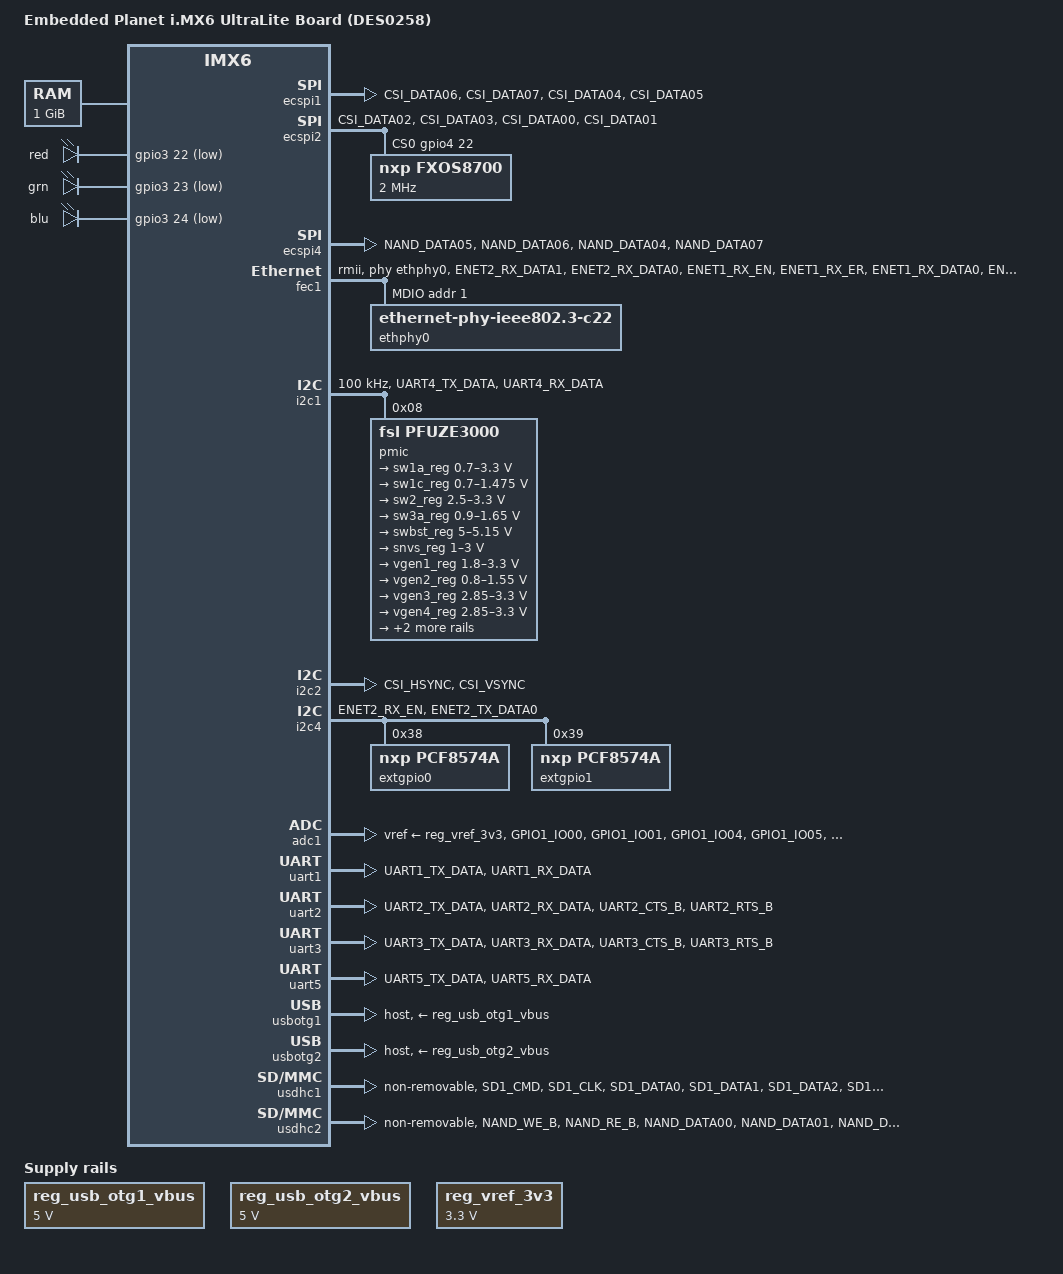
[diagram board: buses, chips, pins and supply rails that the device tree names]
/*
 * Copyright (C) 2015 Freescale Semiconductor, Inc.
 *
 * This program is free software; you can redistribute it and/or modify
 * it under the terms of the GNU General Public License version 2 as
 * published by the Free Software Foundation.
 */

/dts-v1/;

#include <dt-bindings/input/input.h>
#include <dt-bindings/gpio/gpio.h>
#include "imx6ul.dtsi"

/ {
	model = "Embedded Planet i.MX6 UltraLite Board (DES0258)";
	compatible = "fsl,imx6ul", "ep,imx6-des0258";

	chosen {
		stdout-path = &uart1;
	};

	memory {
		reg = <0x80000000 0x40000000>;
	};

	reserved-memory {
		#address-cells = <1>;
		#size-cells = <1>;
		ranges;

		linux,cma {
			compatible = "shared-dma-pool";
			reusable;
			size = <0x14000000>;
			linux,cma-default;
		};
	};

	regulators {
		compatible = "simple-bus";
		#address-cells = <1>;
		#size-cells = <0>;

/*
		reg_usb_otg1_vbus: regulator@0 {
			compatible = "regulator-fixed";
			reg = <2>;
			pinctrl-names = "default";
			pinctrl-0 = <&pinctrl_usb_otg1>;
			regulator-name = "usb_otg1_vbus";
			regulator-min-microvolt = <5000000>;
			regulator-max-microvolt = <5000000>;
			gpio = <&gpio3 5 GPIO_ACTIVE_HIGH>;
			enable-active-high;
		};

		reg_usb_otg2_vbus: regulator@1 {
			compatible = "regulator-fixed";
			reg = <2>;
			pinctrl-names = "default";
			pinctrl-0 = <&pinctrl_usb_otg2>;
			regulator-name = "usb_otg2_vbus";
			regulator-min-microvolt = <5000000>;
			regulator-max-microvolt = <5000000>;
			gpio = <&gpio3 6 GPIO_ACTIVE_HIGH>;
			enable-active-high;
		};
*/

		reg_usb_otg1_vbus: regulator@0 {
			compatible = "regulator-fixed";
			regulator-name = "usb_otg1_vbus_reg";
			regulator-min-microvolt = <5000000>;
			regulator-max-microvolt = <5000000>;
		};

		reg_usb_otg2_vbus: regulator@1 {
			compatible = "regulator-fixed";
			regulator-name = "usb_otg2_vbus_reg";
			regulator-min-microvolt = <5000000>;
			regulator-max-microvolt = <5000000>;
		};

		reg_vref_3v3: regulator-vref {
			compatible = "regulator-fixed";
			regulator-name = "vref-3v3";
			regulator-min-microvolt = <3300000>;
			regulator-max-microvolt = <3300000>;
		};
	};

	leds {
		compatible = "gpio-leds";
		pinctrl-names = "default";
		pinctrl-0 = <&pinctrl_gpio_leds>;

		user_red {
			label = "red";
			gpios = <&gpio3 22 GPIO_ACTIVE_LOW>;
			default-state = "keep";
		};

		user_grn {
			label = "grn";
			gpios = <&gpio3 23 GPIO_ACTIVE_LOW>;
			default-state = "keep";
		};

		user_blu {
			label = "blu";
			gpios = <&gpio3 24 GPIO_ACTIVE_LOW>;
			default-state = "keep";
		};
	};

	gpio {
		compatible = "imx35-gpio";
		pinctrl-names = "default";
		pinctrl-0 = <&pinctrl_gpio_des0258>;

		wifi_reset {
			label = "wifi_rst";
			gpios = <&gpio3 25 GPIO_ACTIVE_LOW>;
		};

		ltp_reset {
			label = "ltp_rst";
			gpios = <&gpio3 26 GPIO_ACTIVE_LOW>;
		};

		sx1301_reset {
			label = "sx1301_rst";
			gpios = <&gpio3 13 GPIO_ACTIVE_HIGH>;
		};

		pushbutton {
			label = "pushbutton";
			gpios = <&gpio2 14 GPIO_ACTIVE_LOW>;
		};
		
		cell_perst {
			label = "cell_perst";
			gpios = <&gpio3 17 GPIO_ACTIVE_LOW>;
		};

		cell_w_disable {
			label = "cell_w_disable";
			gpios = <&gpio3 18 GPIO_ACTIVE_HIGH>;
		};

		cell_wake {
			label = "cell_wake";
			gpios = <&gpio3 19 GPIO_ACTIVE_LOW>;
		};

		cell_power_en {
			label = "cell_power_en";
			gpios = <&gpio3 20 GPIO_ACTIVE_LOW>;
		};
	};
};

&clks {
	assigned-clock-rates = <786432000>;
};

&cpu0 {
	/*
	 * on i.MX6UL, no seperated VDD_ARM_IN and VDD_SOC_IN,
	 * to align with other platform and use the same cpufreq
	 * driver, still use the seperated OPP define for arm
	 * and soc.
	 */
	operating-points = <
		/* kHz	uV */
		528000	1175000
		396000	1175000
		198000	1175000
	>;
	fsl,soc-operating-points = <
		/* KHz	uV */
		528000	1175000
		396000	1175000
		198000	1175000
	>;
	fsl,arm-soc-shared = <1>;
};

&reg_arm {
	vin-supply = <&sw1a_reg>;
	regulator-allow-bypass;
};

&reg_soc {
	vin-supply = <&sw1a_reg>;
	regulator-allow-bypass;
};

&ecspi1 {
	fsl,spi-num-chipselects = <1>;
	cs-gpios = <&gpio4 26 0>;
	pinctrl-names = "default";
	pinctrl-0 = <&pinctrl_ecspi1_1 &pinctrl_ecspi1_cs_1>;
	status = "okay";
};

&ecspi2 {
	fsl,spi-num-chipselects = <1>;
	cs-gpios = <&gpio4 22 0>;
	pinctrl-names = "default";
	pinctrl-0 = <&pinctrl_ecspi2_1 &pinctrl_ecspi2_cs_1>;
	status = "okay";

    fxos8700@0 {
        compatible = "nxp,fxos8700";
        reg = <0>;
        spi-max-frequency = <2000000>;
        status = "okay";
    };
};

&ecspi4 {
	fsl,spi-num-chipselects = <1>;
	cs-gpios = <&gpio4 9 0>;
	pinctrl-names = "default";
	pinctrl-0 = <&pinctrl_ecspi4_1 &pinctrl_ecspi4_cs_1>;
	status = "okay";
};

&fec1 {
	pinctrl-names = "default";
	pinctrl-0 = <&pinctrl_enet1>;
	phy-mode = "rmii";
	phy-handle = <&ethphy0>;
	status = "okay";
	mdio {
		#address-cells = <1>;
		#size-cells = <0>;

		ethphy0: ethernet-phy@0 {
			compatible = "ethernet-phy-ieee802.3-c22";
			reg = <1>;
		};
	};
};

&can1 {
	pinctrl-names = "default";
	pinctrl-0 = <&pinctrl_flexcan1>;
	status = "disabled";
};

&can2 {
	pinctrl-names = "default";
	pinctrl-0 = <&pinctrl_flexcan2>;
	status = "disabled";
};

&gpc {
	fsl,cpu_pupscr_sw2iso = <0x1>;
	fsl,cpu_pupscr_sw = <0x0>;
	fsl,cpu_pdnscr_iso2sw = <0x1>;
	fsl,cpu_pdnscr_iso = <0x1>;
	fsl,ldo-bypass = <1>; /* use ldo-bypass, u-boot will check it and configure */
};

&i2c1 {
	clock-frequency = <100000>;
	pinctrl-names = "default", "gpio";
	pinctrl-0 = <&pinctrl_i2c1>;
	status = "okay";

	pmic: pfuze3000@08 {
		compatible = "fsl,pfuze3000";
		reg = <0x08>;

		regulators {
			sw1a_reg: sw1a {
				regulator-min-microvolt = <700000>;
				regulator-max-microvolt = <3300000>;
				regulator-boot-on;
				regulator-always-on;
				regulator-ramp-delay = <6250>;
			};

			/* use sw1c_reg to align with pfuze100/pfuze200 */
			sw1c_reg: sw1b {
				regulator-min-microvolt = <700000>;
				regulator-max-microvolt = <1475000>;
				regulator-boot-on;
				regulator-always-on;
				regulator-ramp-delay = <6250>;
			};

			sw2_reg: sw2 {
				regulator-min-microvolt = <2500000>;
				regulator-max-microvolt = <3300000>;
				regulator-boot-on;
				regulator-always-on;
			};

			sw3a_reg: sw3 {
				regulator-min-microvolt = <900000>;
				regulator-max-microvolt = <1650000>;
				regulator-boot-on;
				regulator-always-on;
			};

			swbst_reg: swbst {
				regulator-min-microvolt = <5000000>;
				regulator-max-microvolt = <5150000>;
			};

			snvs_reg: vsnvs {
				regulator-min-microvolt = <1000000>;
				regulator-max-microvolt = <3000000>;
				regulator-boot-on;
				regulator-always-on;
			};

			vref_reg: vrefddr {
				regulator-boot-on;
				regulator-always-on;
			};

			vgen1_reg: vldo1 {
				regulator-min-microvolt = <1800000>;
				regulator-max-microvolt = <3300000>;
				regulator-always-on;
			};

			vgen2_reg: vldo2 {
				regulator-min-microvolt = <800000>;
				regulator-max-microvolt = <1550000>;
			};

			vgen3_reg: vccsd {
				regulator-min-microvolt = <2850000>;
				regulator-max-microvolt = <3300000>;
				regulator-always-on;
			};

			vgen4_reg: v33 {
				regulator-min-microvolt = <2850000>;
				regulator-max-microvolt = <3300000>;
				regulator-always-on;
			};

			vgen5_reg: vldo3 {
				regulator-min-microvolt = <1800000>;
				regulator-max-microvolt = <3300000>;
			};

			vgen6_reg: vldo4 {
				regulator-min-microvolt = <1800000>;
				regulator-max-microvolt = <3300000>;
				regulator-always-on;
			};
		};
	};

};

&i2c2 {
	clock_frequency = <400000>;
	pinctrl-names = "default";
	pinctrl-0 = <&pinctrl_i2c2>;
	status = "okay";
};

&i2c4 {
	clock_frequency = <400000>;
	pinctrl-names = "default";
	pinctrl-0 = <&pinctrl_i2c4>;
	status = "okay";

	extgpio0: pcf8574@38 {
		compatible = "nxp,pcf8574a";
		reg = <0x38>;
		gpio-controller;
		#gpio-cells = <2>;
	};
	
	extgpio1: pcf8574@39 {
		compatible = "nxp,pcf8574a";
		reg = <0x39>;
		gpio-controller;
		#gpio-cells = <2>;
	};
};

&iomuxc {
	pinctrl-names = "default";
	
	imx6ul-des0258 {
		pinctrl_adc1: adc1grp {
			fsl,pins = <
				MX6UL_PAD_GPIO1_IO00__GPIO1_IO00        0xb0
				MX6UL_PAD_GPIO1_IO01__GPIO1_IO01        0xb0
				MX6UL_PAD_GPIO1_IO04__GPIO1_IO04        0xb0
				MX6UL_PAD_GPIO1_IO05__GPIO1_IO05        0xb0
				MX6UL_PAD_GPIO1_IO06__GPIO1_IO06        0xb0
				MX6UL_PAD_GPIO1_IO07__GPIO1_IO07        0xb0
				MX6UL_PAD_GPIO1_IO08__GPIO1_IO08        0xb0
				MX6UL_PAD_GPIO1_IO09__GPIO1_IO09        0xb0
			>;
		};

		pinctrl_bt: btgrp {
			fsl,pins = <
				MX6UL_PAD_SNVS_TAMPER6__GPIO5_IO06	0x80000000
				MX6UL_PAD_SNVS_TAMPER9__GPIO5_IO09	0x80000000
				MX6UL_PAD_SNVS_TAMPER5__GPIO5_IO05	0x80000000
			>;
		};

		pinctrl_ecspi1_cs_1: ecspi1_cs_grp-1 {
			fsl,pins = <
				MX6UL_PAD_CSI_DATA05__GPIO4_IO26  0x10b0
			>;
		};

		pinctrl_ecspi1_1: ecspi1grp-1 {
			fsl,pins = <
				MX6UL_PAD_CSI_DATA06__ECSPI1_MOSI 0x10b0
				MX6UL_PAD_CSI_DATA07__ECSPI1_MISO 0x10b0
				MX6UL_PAD_CSI_DATA04__ECSPI1_SCLK 0x10b0
			>;
		};

		pinctrl_ecspi2_cs_1: ecspi2_cs_grp-1 {
			fsl,pins = <
				MX6UL_PAD_CSI_DATA01__GPIO4_IO22  0x10b0
			>;
		};

		pinctrl_ecspi2_1: ecspi2grp-1 {
			fsl,pins = <
				MX6UL_PAD_CSI_DATA02__ECSPI2_MOSI 0x10b0
				MX6UL_PAD_CSI_DATA03__ECSPI2_MISO 0x10b0
				MX6UL_PAD_CSI_DATA00__ECSPI2_SCLK 0x10b0
			>;
		};

		pinctrl_ecspi4_cs_1: ecspi4_cs_grp-1 {
			fsl,pins = <
				MX6UL_PAD_NAND_DATA07__GPIO4_IO09  0x10b0
			>;
		};

		pinctrl_ecspi4_1: ecspi4grp-1 {
			fsl,pins = <
				MX6UL_PAD_NAND_DATA05__ECSPI4_MOSI 0x10b0
				MX6UL_PAD_NAND_DATA06__ECSPI4_MISO 0x10b0
				MX6UL_PAD_NAND_DATA04__ECSPI4_SCLK 0x10b0
			>;
		};


		pinctrl_enet1: enet1grp {
			fsl,pins = <
				MX6UL_PAD_ENET2_RX_DATA1__ENET1_MDC		0x1b0b0
				MX6UL_PAD_ENET2_RX_DATA0__ENET1_MDIO	0x1b0b0
				MX6UL_PAD_ENET1_RX_EN__ENET1_RX_EN	0x1b0b0
				MX6UL_PAD_ENET1_RX_ER__ENET1_RX_ER	0x1b0b0
				MX6UL_PAD_ENET1_RX_DATA0__ENET1_RDATA00	0x1b0b0
				MX6UL_PAD_ENET1_RX_DATA1__ENET1_RDATA01	0x1b0b0
				MX6UL_PAD_ENET1_TX_EN__ENET1_TX_EN	0x1b0b0
				MX6UL_PAD_ENET1_TX_DATA0__ENET1_TDATA00	0x1b0b0
				MX6UL_PAD_ENET1_TX_DATA1__ENET1_TDATA01	0x1b0b0
				MX6UL_PAD_ENET1_TX_CLK__ENET1_REF_CLK1	0x4001b031
			>;
		};

		pinctrl_gpio_leds: gpioledsgrp {
			fsl,pins = <
				/* RGB_R */
				MX6UL_PAD_LCD_DATA17__GPIO3_IO22	0x80000000
				/* RGB_G */
				MX6UL_PAD_LCD_DATA18__GPIO3_IO23	0x80000000
				/* RGB_B */
				MX6UL_PAD_LCD_DATA19__GPIO3_IO24	0x80000000
			>;
		};

		pinctrl_gpio_des0258: gpiodes0258grp {
			fsl,pins = <
				/* INT_LIGHT */
				MX6UL_PAD_ENET2_RX_ER__GPIO2_IO15	0x80000000
				/* PUSHBUTTON */
				MX6UL_PAD_ENET2_TX_CLK__GPIO2_IO14	0x80000000
				/* PMIC_INTB */
				MX6UL_PAD_ENET2_TX_DATA1__GPIO2_IO12	0x80000000
				/* SX1301_RESET */
				MX6UL_PAD_ENET2_TX_EN__GPIO2_IO13	0x80000000
				/* WIFI_RESET# */
				MX6UL_PAD_LCD_DATA20__GPIO3_IO25	0x80000000
				/* LTP_RESET# */
				MX6UL_PAD_LCD_DATA21__GPIO3_IO26	0x80000000
				/* CELL_PERST# */
				MX6UL_PAD_LCD_DATA12__GPIO3_IO17	0x80000000
				/* CELL_W_DISABLE# */
				MX6UL_PAD_LCD_DATA13__GPIO3_IO18	0x80000000
				/* CELL_WAKE# */
				MX6UL_PAD_LCD_DATA14__GPIO3_IO19	0x80000000
				/* CELL_POWER_EN# */
				MX6UL_PAD_LCD_DATA15__GPIO3_IO20	0x80000000
				>;
		};

		pinctrl_flexcan1: flexcan1grp{
			fsl,pins = <
				MX6UL_PAD_LCD_DATA08__FLEXCAN1_TX	0x1b020
				MX6UL_PAD_LCD_DATA09__FLEXCAN1_RX	0x1b020
				MX6UL_PAD_LCD_DATA22__GPIO3_IO27	0x17059	/* STBY */
			>;
		};

		pinctrl_flexcan2: flexcan2grp{
			fsl,pins = <
				MX6UL_PAD_LCD_DATA10__FLEXCAN2_TX	0x1b020
				MX6UL_PAD_LCD_DATA11__FLEXCAN2_RX	0x1b020
				MX6UL_PAD_LCD_DATA23__GPIO3_IO28	0x17059	/* STBY */
			>;
		};

		pinctrl_i2c1: i2c1grp {
			fsl,pins = <
				MX6UL_PAD_UART4_TX_DATA__I2C1_SCL 0x4001b8b0
				MX6UL_PAD_UART4_RX_DATA__I2C1_SDA 0x4001b8b0
			>;
		};

		pinctrl_i2c1_gpio: i2c1grp_gpio {
			fsl,pins = <
				MX6UL_PAD_UART4_TX_DATA__GPIO1_IO28  0x1b8b1
				MX6UL_PAD_UART4_RX_DATA__GPIO1_IO29  0x1b8b1
			>;
		};

		pinctrl_i2c2: i2c2grp {
			fsl,pins = <
                MX6UL_PAD_CSI_HSYNC__I2C2_SCL 0x4001b8b0
                MX6UL_PAD_CSI_VSYNC__I2C2_SDA 0x4001b8b0
			>;
		};

		pinctrl_i2c4: i2c4grp {
			fsl,pins = <
				MX6UL_PAD_ENET2_RX_EN__I2C4_SCL 0x4001b8b0
                MX6UL_PAD_ENET2_TX_DATA0__I2C4_SDA  0x4001b8b0
			>;
		};

		pinctrl_qspi: qspigrp {
			fsl,pins = <
				MX6UL_PAD_NAND_WP_B__QSPI_A_SCLK      0x70a1
				MX6UL_PAD_NAND_READY_B__QSPI_A_DATA00 0x70a1
				MX6UL_PAD_NAND_CE0_B__QSPI_A_DATA01   0x70a1
				MX6UL_PAD_NAND_CE1_B__QSPI_A_DATA02   0x70a1
				MX6UL_PAD_NAND_CLE__QSPI_A_DATA03     0x70a1
				MX6UL_PAD_NAND_DQS__QSPI_A_SS0_B      0x70a1
			>;
		};

		pinctrl_uart1: uart1grp {
			fsl,pins = <
				MX6UL_PAD_UART1_TX_DATA__UART1_DCE_TX 0x1b0b1
				MX6UL_PAD_UART1_RX_DATA__UART1_DCE_RX 0x1b0b1
			>;
		};

		pinctrl_uart2: uart2grp {
			fsl,pins = <
				MX6UL_PAD_UART2_TX_DATA__UART2_DCE_TX 0x1b0b1
				MX6UL_PAD_UART2_RX_DATA__UART2_DCE_RX 0x1b0b1
				MX6UL_PAD_UART2_CTS_B__UART2_DCE_CTS  0x1b0b1
				MX6UL_PAD_UART2_RTS_B__UART2_DCE_RTS  0x1b0b1
			>;
		};

		pinctrl_uart2dte: uart2dtegrp {
			fsl,pins = <
				MX6UL_PAD_UART2_TX_DATA__UART2_DTE_RX 0x1b0b1
				MX6UL_PAD_UART2_RX_DATA__UART2_DTE_TX 0x1b0b1
				MX6UL_PAD_UART2_CTS_B__UART2_DTE_RTS  0x1b0b1
				MX6UL_PAD_UART2_RTS_B__UART2_DTE_CTS  0x1b0b1
			>;
		};

		pinctrl_uart3: uart3grp {
			fsl,pins = <
				MX6UL_PAD_UART3_TX_DATA__UART3_DCE_TX 0x1b0b1
				MX6UL_PAD_UART3_RX_DATA__UART3_DCE_RX 0x1b0b1
				MX6UL_PAD_UART3_CTS_B__UART3_DCE_CTS  0x1b0b1
//				MX6UL_PAD_UART3_RTS_B__UART3_DCE_RTS  0x1b0b1
                MX6UL_PAD_UART3_RTS_B__GPIO1_IO27     0x10b0 /* (G14) configure as GPIO and set to 0 to pull down CTS input to SM Manager */
			>;
		};

		pinctrl_uart5: uart5grp {
			fsl,pins = <
				MX6UL_PAD_UART5_TX_DATA__UART5_DCE_TX 0x1b0b1
				MX6UL_PAD_UART5_RX_DATA__UART5_DCE_RX 0x1b0b1
			>;
		};

		pinctrl_usb_otg1_id: usbotg1idgrp {
			fsl,pins = <
				MX6UL_PAD_LCD_DATA02__GPIO3_IO07	    0x17059
			>;
		};

		pinctrl_usb_otg1: usbotg1grp {
			fsl,pins = <
				MX6UL_PAD_LCD_DATA00__GPIO3_IO05        0x10b0
			>;
		};

		pinctrl_usb_otg2_id: usbotg2idgrp {
			fsl,pins = <
				MX6UL_PAD_LCD_DATA03__GPIO3_IO08	    0x17059
			>;
		};

		pinctrl_usb_otg2: usbotg2grp {
			fsl,pins = <
				MX6UL_PAD_LCD_DATA01__GPIO3_IO06        0x10b0
			>;
		};

		pinctrl_usdhc1: usdhc1grp {
			fsl,pins = <
				MX6UL_PAD_SD1_CMD__USDHC1_CMD     0x17059
				MX6UL_PAD_SD1_CLK__USDHC1_CLK     0x10059
				MX6UL_PAD_SD1_DATA0__USDHC1_DATA0 0x17059
				MX6UL_PAD_SD1_DATA1__USDHC1_DATA1 0x17059
				MX6UL_PAD_SD1_DATA2__USDHC1_DATA2 0x17059
				MX6UL_PAD_SD1_DATA3__USDHC1_DATA3 0x17059
				/* WP */
				MX6UL_PAD_GPIO1_IO02__USDHC1_WP   0x010b0
				/* CD */
				MX6UL_PAD_GPIO1_IO03__USDHC1_CD_B 0x010b0
			>;
		};

		pinctrl_usdhc1_100mhz: usdhc1grp100mhz {
			fsl,pins = <
				MX6UL_PAD_SD1_CMD__USDHC1_CMD     0x170b9
				MX6UL_PAD_SD1_CLK__USDHC1_CLK     0x100b9
				MX6UL_PAD_SD1_DATA0__USDHC1_DATA0 0x170b9
				MX6UL_PAD_SD1_DATA1__USDHC1_DATA1 0x170b9
				MX6UL_PAD_SD1_DATA2__USDHC1_DATA2 0x170b9
				MX6UL_PAD_SD1_DATA3__USDHC1_DATA3 0x170b9
				/* WP */
				MX6UL_PAD_GPIO1_IO02__USDHC1_WP   0x010b0
				/* CD */
				MX6UL_PAD_GPIO1_IO03__USDHC1_CD_B 0x010b0
			>;
		};

		pinctrl_usdhc1_200mhz: usdhc1grp200mhz {
			fsl,pins = <
				MX6UL_PAD_SD1_CMD__USDHC1_CMD     0x170f9
				MX6UL_PAD_SD1_CLK__USDHC1_CLK     0x100f9
				MX6UL_PAD_SD1_DATA0__USDHC1_DATA0 0x170f9
				MX6UL_PAD_SD1_DATA1__USDHC1_DATA1 0x170f9
				MX6UL_PAD_SD1_DATA2__USDHC1_DATA2 0x170f9
				MX6UL_PAD_SD1_DATA3__USDHC1_DATA3 0x170f9
				/* WP */
				MX6UL_PAD_GPIO1_IO02__USDHC1_WP   0x010b0
				/* CD */
				MX6UL_PAD_GPIO1_IO03__USDHC1_CD_B 0x010b0
			>;
		};

		pinctrl_usdhc2: usdhc2grp {
			fsl,pins = <
				MX6UL_PAD_NAND_WE_B__USDHC2_CMD		0x17059
				MX6UL_PAD_NAND_RE_B__USDHC2_CLK		0x10059
				MX6UL_PAD_NAND_DATA00__USDHC2_DATA0	0x17059
				MX6UL_PAD_NAND_DATA01__USDHC2_DATA1	0x17059
				MX6UL_PAD_NAND_DATA02__USDHC2_DATA2	0x17059
				MX6UL_PAD_NAND_DATA03__USDHC2_DATA3	0x17059
				/* WP */
				MX6UL_PAD_CSI_PIXCLK__USDHC2_WP     0x010b0
				/* CD */
				MX6UL_PAD_CSI_MCLK__USDHC2_CD_B     0x010b0
			>;
		};

		pinctrl_usdhc2_100mhz: usdhc2grp100mhz {
			fsl,pins = <
				MX6UL_PAD_NAND_WE_B__USDHC2_CMD		0x170b9
				MX6UL_PAD_NAND_RE_B__USDHC2_CLK		0x100b9
				MX6UL_PAD_NAND_DATA00__USDHC2_DATA0	0x170b9
				MX6UL_PAD_NAND_DATA01__USDHC2_DATA1	0x170b9
				MX6UL_PAD_NAND_DATA02__USDHC2_DATA2	0x170b9
				MX6UL_PAD_NAND_DATA03__USDHC2_DATA3	0x170b9
				/* WP */
				MX6UL_PAD_CSI_PIXCLK__USDHC2_WP     0x010b0
				/* CD */
				MX6UL_PAD_CSI_MCLK__USDHC2_CD_B     0x010b0
			>;
		};

		pinctrl_usdhc2_200mhz: usdhc2grp200mhz {
			fsl,pins = <
				MX6UL_PAD_NAND_WE_B__USDHC2_CMD		0x170f9
				MX6UL_PAD_NAND_RE_B__USDHC2_CLK		0x100f9
				MX6UL_PAD_NAND_DATA00__USDHC2_DATA0	0x170f9
				MX6UL_PAD_NAND_DATA01__USDHC2_DATA1	0x170f9
				MX6UL_PAD_NAND_DATA02__USDHC2_DATA2	0x170f9
				MX6UL_PAD_NAND_DATA03__USDHC2_DATA3	0x170f9
				/* WP */
				MX6UL_PAD_CSI_PIXCLK__USDHC2_WP     0x010b0
				/* CD */
				MX6UL_PAD_CSI_MCLK__USDHC2_CD_B     0x010b0
			>;
		};
	};
};

&qspi {
	pinctrl-names = "default";
	pinctrl-0 = <&pinctrl_qspi>;
	status = "disable";
	ddrsmp=<0>;

	flash0: s25fl512s@0 {
		compatible = "spansion,s25fl512s", "jedec,spi-nor";
		reg = <0>;
		spi-max-frequency = <30000000>;
		spi-tx-bus-width = <4>;
		spi-rx-bus-width = <4>;
		spi-cpol;
		spi-cpha;
		m25p,fast-read;

		partitions {
			compatible = "fixed-partitions";
			#address-cells = <1>;
			#size-cells = <1>;

			partition@0 {
				label = "u-boot";
				reg = <0x00000000 0x00100000>;
				read-only;
			};
			partition@40000 {
				label = "u-boot-env";
				reg = <0x00100000 0x00400000>;
				read-only;
			};
			partition@140000 {
				label = "file-system";
				reg = <0x00140000 0x03bc0000>;
			};
		};

	};
};

&adc1 {
	pinctrl-names = "default";
	pinctrl-0 = <&pinctrl_adc1>;
	vref-supply = <&reg_vref_3v3>;
	num-channels = <8>;
	status = "okay";
};

&uart1 {
	pinctrl-names = "default";
	pinctrl-0 = <&pinctrl_uart1>;
	fsl,uart-has-rtscts;
	status = "okay";
};

&uart2 {
	pinctrl-names = "default";
	pinctrl-0 = <&pinctrl_uart2>;
	fsl,uart-has-rtscts;
	status = "okay";
};


&uart3 {
	pinctrl-names = "default";
	pinctrl-0 = <&pinctrl_uart3>;
	fsl,uart-has-rtscts;
	status = "okay";
};

&uart5 {
	pinctrl-names = "default";
	pinctrl-0 = <&pinctrl_uart5>;
	status = "okay";
};


&usbotg1 {
	vbus-supply = <&reg_usb_otg1_vbus>;
	dr_mode = "host";
	disable-over-current;
	status = "okay";
};

&usbotg2 {
	vbus-supply = <&reg_usb_otg2_vbus>;
	dr_mode = "host";
	disable-over-current;
	status = "okay";
};

&usbphy1 {
	fsl,tx-d-cal = <106>;
};

&usbphy2 {
	fsl,tx-d-cal = <106>;
};

&usdhc1 {
	pinctrl-names = "default", "state_100mhz", "state_200mhz";
	pinctrl-0 = <&pinctrl_usdhc1>;
	pinctrl-1 = <&pinctrl_usdhc1_100mhz>;
	pinctrl-2 = <&pinctrl_usdhc1_200mhz>;
	cd-gpios = <&gpio1 3 GPIO_ACTIVE_LOW>;
	wp-gpios = <&gpio1 2 GPIO_ACTIVE_HIGH>;
	non-removable;
	status = "okay";
};

&usdhc2 {
	pinctrl-names = "default", "state_100mhz", "state_200mhz";
	pinctrl-0 = <&pinctrl_usdhc2>;
	pinctrl-1 = <&pinctrl_usdhc2_100mhz>;
	pinctrl-2 = <&pinctrl_usdhc2_200mhz>;
	cd-gpios = <&gpio1 7 GPIO_ACTIVE_LOW>;
	wp-gpios = <&gpio1 6 GPIO_ACTIVE_HIGH>;
	non-removable;
	status = "okay";
};
